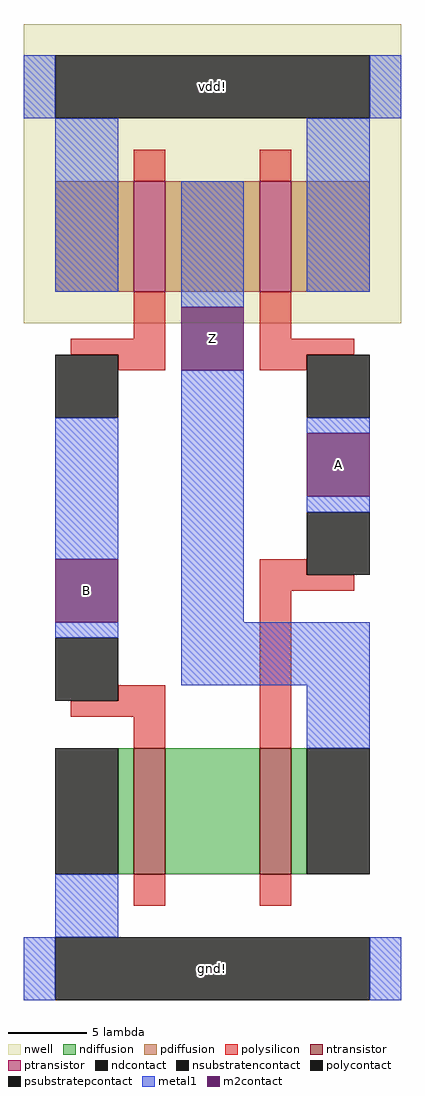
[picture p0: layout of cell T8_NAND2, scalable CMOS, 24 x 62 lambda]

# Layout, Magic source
magic
tech scmos
<< nwell >>
rect 0 45 24 64
<< polysilicon >>
rect 7 54 9 56
rect 15 54 17 56
rect 7 44 9 47
rect 3 43 9 44
rect 6 42 9 43
rect 15 44 17 47
rect 15 43 21 44
rect 15 42 18 43
rect 15 29 18 30
rect 15 28 21 29
rect 6 21 9 22
rect 3 20 9 21
rect 7 18 9 20
rect 15 18 17 28
rect 7 8 9 10
rect 15 8 17 10
<< ndiffusion >>
rect 6 10 7 18
rect 9 10 15 18
rect 17 10 18 18
<< pdiffusion >>
rect 2 47 7 54
rect 9 47 15 54
rect 17 47 22 54
<< metal1 >>
rect 0 58 2 62
rect 22 58 24 62
rect 2 47 6 58
rect 10 46 14 54
rect 18 47 22 58
rect 2 30 6 39
rect 2 25 6 26
rect 10 26 14 42
rect 18 38 22 39
rect 18 33 22 34
rect 10 22 22 26
rect 18 18 22 22
rect 2 6 6 10
rect 0 2 2 6
rect 22 2 24 6
<< ntransistor >>
rect 7 10 9 18
rect 15 10 17 18
<< ptransistor >>
rect 7 47 9 54
rect 15 47 17 54
<< polycontact >>
rect 2 39 6 43
rect 18 39 22 43
rect 18 29 22 33
rect 2 21 6 25
<< ndcontact >>
rect 2 10 6 18
rect 18 10 22 18
<< m2contact >>
rect 2 26 6 30
rect 10 42 14 46
rect 18 34 22 38
<< psubstratepcontact >>
rect 2 2 22 6
<< nsubstratencontact >>
rect 2 58 22 62
<< labels >>
rlabel psubstratepcontact 2 2 22 6 1 gnd!
rlabel m2contact 18 34 22 38 7 A
rlabel m2contact 10 42 14 46 1 Z
rlabel m2contact 2 26 6 30 3 B
rlabel nsubstratencontact 2 58 22 62 1 vdd!
<< end >>
